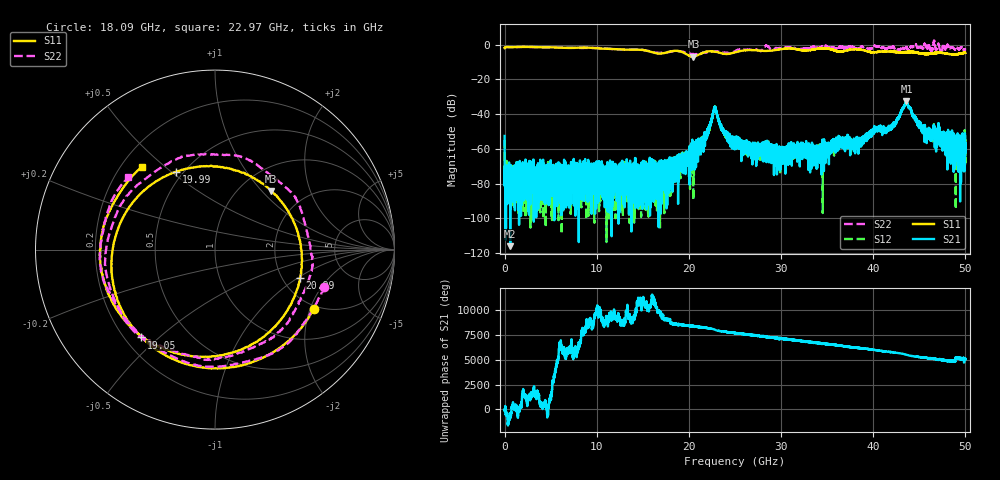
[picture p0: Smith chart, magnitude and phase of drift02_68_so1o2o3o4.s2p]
!Created with skrf (http://scikit-rf.org).
# Hz S RI R 50.0
!freq ReS11 ImS11 ReS21 ImS21 ReS12 ImS12 ReS22 ImS22
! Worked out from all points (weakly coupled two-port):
!   10001 points, 300 kHz to 50 GHz, reference 50 ohm
!   highest |S21| = -32.66 dB at 43.61 GHz (marker M1); lowest = -116.0 dB at 605.3 MHz (marker M2)
!   lowest |S11| = -6.9 dB at 20.5 GHz (marker M3), VSWR 2.65, Z = 69 + j56.4 ohm
!   |S11| at or under -10 dB: nowhere
!   |S22| runs from -5.7 to 2.4 dB; largest |S21 - S12| = 0.0039
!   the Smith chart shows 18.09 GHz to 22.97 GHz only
!   S11 on the Smith chart (normalised r, x): 18.09 GHz: 1.90, -2.12; 19.05 GHz: 0.27, -0.44; 19.99 GHz: 0.46, +0.52; 20.99 GHz: 2.49, -1.05; 22.97 GHz: 0.28, +0.42
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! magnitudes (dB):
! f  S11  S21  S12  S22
! 300 kHz  -2.0  -52.6  -54.7  -2.1
! 255.3 MHz  -1.4  -71.0  -78.2  -1.4
! 605.3 MHz  -1.5  -116.0  -82.3  -1.5
! 8.335 GHz  -1.7  -72.6  -81.5  -1.9
! 16.67 GHz  -5.2  -78.4  -77.9  -4.7
! 18.09 GHz  -3.9  -82.1  -78.8  -3.8
! 19.05 GHz  -3.9  -66.1  -66.6  -3.9
! 19.99 GHz  -6.3  -65.1  -64.1  -5.2
! 20.5 GHz  -6.9  -66.2  -68.6  -5.5
! 20.99 GHz  -6.0  -58.9  -61.5  -5.6
! 21.91 GHz  -4.1  -50.5  -51.1  -4.3
! 22.72 GHz  -4.1  -37.0  -37.3  -4.0
! 22.97 GHz  -4.2  -38.3  -38.2  -4.0
! 23.79 GHz  -5.3  -49.9  -50.4  -4.6
! 25 GHz  -4.5  -55.3  -55.7  -3.9
! 29.79 GHz  -2.8  -58.6  -62.2  -2.0
! 33.34 GHz  -3.1  -59.1  -65.2  -1.6
! 41.67 GHz  -4.0  -47.8  -48.2  -1.9
! 43.61 GHz  -4.4  -32.7  -33.3  -1.5
! 45.67 GHz  -5.3  -49.5  -50.0  -0.5
! 48.75 GHz  -5.6  -61.4  -55.6  -2.4
! 50 GHz  -4.7  -62.2  -55.0  -2.7
